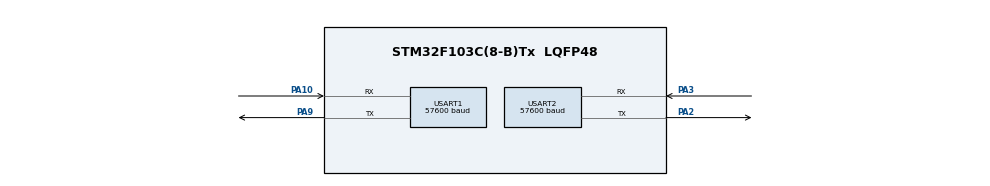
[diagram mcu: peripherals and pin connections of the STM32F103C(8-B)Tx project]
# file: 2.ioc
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Mcu.Family=STM32F1
Mcu.Name=STM32F103C(8-B)Tx
Mcu.Package=LQFP48
NVIC.PriorityGroup=NVIC_PRIORITYGROUP_4
NVIC.TIM4_IRQn=true\:0\:0\:false\:false\:true\:false
NVIC.TimeBase=TIM4_IRQn
NVIC.TimeBaseIP=TIM4
NVIC.USART1_IRQn=true\:0\:0\:false\:false\:true\:true
PA10.Mode=Asynchronous
PA10.Signal=USART1_RX
PA13.Mode=Serial_Wire
PA13.Signal=SYS_JTMS-SWDIO
PA14.Mode=Serial_Wire
PA14.Signal=SYS_JTCK-SWCLK
PA2.Mode=Asynchronous
PA2.Signal=USART2_TX
PA3.Mode=Asynchronous
PA3.Signal=USART2_RX
PA9.Mode=Asynchronous
PA9.Signal=USART1_TX
PD0-OSC_IN.Mode=HSE-External-Oscillator
PD0-OSC_IN.Signal=RCC_OSC_IN
PD1-OSC_OUT.Mode=HSE-External-Oscillator
PD1-OSC_OUT.Signal=RCC_OSC_OUT
ProjectManager.HeapSize=0x200
ProjectManager.StackSize=0x400
ProjectManager.TargetToolchain=MDK-ARM V5
RCC.APB1Freq_Value=8000000
RCC.APB2Freq_Value=8000000
USART1.BaudRate=57600
USART1.VirtualMode=VM_ASYNC
USART2.BaudRate=57600
USART2.Mode=MODE_TX_RX
USART2.VirtualMode=VM_ASYNC
VP_SYS_VS_tim4.Mode=TIM4
board=custom

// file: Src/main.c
/**
  ******************************************************************************
  * @file           : main.c
  * @brief          : Main program body
  ******************************************************************************
  ** This notice applies to any and all portions of this file
  * that are not between comment pairs USER CODE BEGIN and
  * USER CODE END. Other portions of this file, whether
  * inserted by the user or by software development tools
  * are owned by their respective copyright owners.
  *
  * COPYRIGHT(c) 2019 STMicroelectronics
  *
  * Redistribution and use in source and binary forms, with or without modification,
  * are permitted provided that the following conditions are met:
  *   1. Redistributions of source code must retain the above copyright notice,
  *      this list of conditions and the following disclaimer.
  *   2. Redistributions in binary form must reproduce the above copyright notice,
  *      this list of conditions and the following disclaimer in the documentation
  *      and/or other materials provided with the distribution.
  *   3. Neither the name of STMicroelectronics nor the names of its contributors
  *      may be used to endorse or promote products derived from this software
  *      without specific prior written permission.
  *
  * THIS SOFTWARE IS PROVIDED BY THE COPYRIGHT HOLDERS AND CONTRIBUTORS "AS IS"
  * AND ANY EXPRESS OR IMPLIED WARRANTIES, INCLUDING, BUT NOT LIMITED TO, THE
  * IMPLIED WARRANTIES OF MERCHANTABILITY AND FITNESS FOR A PARTICULAR PURPOSE ARE
  * DISCLAIMED. IN NO EVENT SHALL THE COPYRIGHT HOLDER OR CONTRIBUTORS BE LIABLE
  * FOR ANY DIRECT, INDIRECT, INCIDENTAL, SPECIAL, EXEMPLARY, OR CONSEQUENTIAL
  * DAMAGES (INCLUDING, BUT NOT LIMITED TO, PROCUREMENT OF SUBSTITUTE GOODS OR
  * SERVICES; LOSS OF USE, DATA, OR PROFITS; OR BUSINESS INTERRUPTION) HOWEVER
  * CAUSED AND ON ANY THEORY OF LIABILITY, WHETHER IN CONTRACT, STRICT LIABILITY,
  * OR TORT (INCLUDING NEGLIGENCE OR OTHERWISE) ARISING IN ANY WAY OUT OF THE USE
  * OF THIS SOFTWARE, EVEN IF ADVISED OF THE POSSIBILITY OF SUCH DAMAGE.
  *
  ******************************************************************************
  */
#include "main.h"
#include "stm32f1xx_hal.h"

/* USER CODE BEGIN Includes */
#include "string.h"

/* USER CODE END Includes */

UART_HandleTypeDef huart1;
UART_HandleTypeDef huart2;

/* USER CODE BEGIN PV */
/* Private variables ---------------------------------------------------------*/
int status=0;
unsigned char	data_u[1];
unsigned char i=0;
unsigned char recive[40];
unsigned char recive_validity=0;
unsigned char binary_back_off=0;

/* USER CODE END PV */

void SystemClock_Config(void);
static void MX_GPIO_Init(void);
static void MX_USART1_UART_Init(void);
static void MX_USART2_UART_Init(void);

/* USER CODE BEGIN PFP */
/* Private function prototypes -----------------------------------------------*/

/* USER CODE END PFP */

/* USER CODE BEGIN 0 */

//before use set this param

char char1='a';//change to \n
char char2='b';// change to \r

#define nwkskey_command         "mac set nwkskey 12345678123456781234567812345678"
#define appskey_command         "mac set appskey 12345678123456781234567812345678"
#define devaddr_command         "mac set devaddr 001B4D55"
#define pwr_command             "radio set pwr 14"
#define timeout									5

void send_command(char * str){
	char t_str1[100];
	sprintf(t_str1, str);
	HAL_UART_Transmit(&huart1,(unsigned char*)t_str1 ,strlen(t_str1),100);
	sprintf(t_str1,"\r\n");
	HAL_UART_Transmit(&huart1,(unsigned char*)t_str1 ,strlen(t_str1),100);
 }
void send_terminal(char * str){
	char t_str2[100];
	sprintf(t_str2, str);
	HAL_UART_Transmit(&huart2,(unsigned char*)t_str2 ,strlen(t_str2),100);
	sprintf(t_str2,"\r\n");
	HAL_UART_Transmit(&huart2,(unsigned char*)t_str2 ,strlen(t_str2),100);
 }
void check_ok(){
				char Buffer[40];
				sscanf((char *)recive,"%s ",Buffer);
				if(Buffer[0]=='o'){
					if(Buffer[1]=='k'){
					status++;
					}
					send_terminal("lora node: ");
					send_terminal(Buffer);
				}
			}
void check_accepted(){
				char Buffer[40];
				sscanf((char *)recive,"%s ",Buffer);
				if(Buffer[0]=='a'){
					if(Buffer[1]=='c'){
						if(Buffer[2]=='c'){

					status++;
					send_terminal("connected");
					}}}
					send_terminal("lora node: ");
					send_terminal(Buffer);
}

/* USER CODE END 0 */

int main(void)
{

  /* MCU Configuration----------------------------------------------------------*/

  /* Reset of all peripherals, Initializes the Flash interface and the Systick. */
  HAL_Init();

  /* Configure the system clock */
  SystemClock_Config();

  /* Initialize all configured peripherals */
  MX_GPIO_Init();
  MX_USART1_UART_Init();
  MX_USART2_UART_Init();
  /* USER CODE BEGIN 2 */
	send_terminal("salam");
	recive_validity=0;
  /* USER CODE END 2 */

  /* Infinite loop */
  while (1)
  {

  /* USER CODE BEGIN 3 */
	HAL_Delay(1000);

	switch (status){
			case 0:
				send_command(nwkskey_command);
				HAL_UART_Receive_IT(&huart1,data_u,1);
				status++;
				break;
			case 1:
				if(recive_validity==0){
					send_command(nwkskey_command);
					send_terminal("nwskey send again");
					HAL_Delay(1000);
				}
				else{
					check_ok();
					recive_validity=0;
					send_terminal("ack of nwkskey");
				}
				break;
			case 2:
				send_command(appskey_command);
				HAL_UART_Receive_IT(&huart1,data_u,1);
				status++;
				break;
			case 3:
				if(recive_validity==0){
					send_command(appskey_command);
					send_terminal("appskey send again");
					HAL_Delay(500);
				}
				else{
					check_ok();
					recive_validity=0;
					send_terminal("ack of appskey");

				}
				break;
				case 4:
				send_command(devaddr_command);
				HAL_UART_Receive_IT(&huart1,data_u,1);
				status++;
				break;
			case 5:
				if(recive_validity==0){
					send_command(devaddr_command);
					send_terminal("devaddr send again");
					HAL_Delay(500);
				}
				else{
					check_ok();
					recive_validity=0;
					send_terminal("ack of devaddr");

				}
				break;
			case 6:
				send_command("mac set adr on");
				HAL_UART_Receive_IT(&huart1,data_u,1);
				status++;
				break;
			case 7:
				if(recive_validity==0){
					send_command("mac set adr on");
					send_terminal("adr on send again");
					HAL_Delay(500);
				}
				else{
					check_ok();
					recive_validity=0;
					send_terminal("ack of adr on");
				}
				break;
			 case 8:
				send_command(pwr_command);
				HAL_UART_Receive_IT(&huart1,data_u,1);
				status++;
				break;
			 case 9:
				if(recive_validity==0){
					send_command(pwr_command);
					send_terminal("radio pwr send again");
					HAL_Delay(500);
				}
				else{
					check_ok();
					recive_validity=0;
				  send_terminal("ack of pwr 14");

				}
				break;
			case 10:
				send_command("mac save");
				HAL_UART_Receive_IT(&huart1,data_u,1);
				status++;
				break;
			case 11:
				if(recive_validity==0){
					send_command("mac save");
					send_terminal("mac save send again");
					HAL_Delay(500);
				}
				else{
					check_ok();
					recive_validity=0;
					send_terminal("ack of mac save");
					send_terminal("confguration is done");

				}
				break;
			//________________________________________configurate done
			case 12:
				send_command("mac join abp");
				HAL_UART_Receive_IT(&huart1,data_u,1);
				status++;
				break;
			case 13:
				if(recive_validity==0){
					send_command("mac join abp");
					send_terminal("mac join abp send again");
					HAL_Delay(500);
				}
				else{
					check_ok();
					recive_validity=0;
					send_terminal("ack of mac join abp");

				}
				break;
			case 14:
				if(recive_validity==0){
					send_terminal("wait for accepted");
					HAL_Delay(500);

					if(binary_back_off==timeout){
					send_terminal("connection is fail");
					status--;
					binary_back_off=0;
					}

					binary_back_off++;
				}
				else{
					check_accepted();
					recive_validity=0;
				}
				break;
			case 15:
					send_command("mac tx uncnf 1 salam");
					send_terminal("send|salam|-udp");
					HAL_Delay(1000);

				break;

	}

  }
  /* USER CODE END 3 */

}

void SystemClock_Config(void)
{

  RCC_OscInitTypeDef RCC_OscInitStruct;
  RCC_ClkInitTypeDef RCC_ClkInitStruct;

    /**Initializes the CPU, AHB and APB busses clocks
    */
  RCC_OscInitStruct.OscillatorType = RCC_OSCILLATORTYPE_HSI;
  RCC_OscInitStruct.HSIState = RCC_HSI_ON;
  RCC_OscInitStruct.HSICalibrationValue = 16;
  RCC_OscInitStruct.PLL.PLLState = RCC_PLL_NONE;
  if (HAL_RCC_OscConfig(&RCC_OscInitStruct) != HAL_OK)
  {
    _Error_Handler(__FILE__, __LINE__);
  }

    /**Initializes the CPU, AHB and APB busses clocks
    */
  RCC_ClkInitStruct.ClockType = RCC_CLOCKTYPE_HCLK|RCC_CLOCKTYPE_SYSCLK
                              |RCC_CLOCKTYPE_PCLK1|RCC_CLOCKTYPE_PCLK2;
  RCC_ClkInitStruct.SYSCLKSource = RCC_SYSCLKSOURCE_HSI;
  RCC_ClkInitStruct.AHBCLKDivider = RCC_SYSCLK_DIV1;
  RCC_ClkInitStruct.APB1CLKDivider = RCC_HCLK_DIV1;
  RCC_ClkInitStruct.APB2CLKDivider = RCC_HCLK_DIV1;

  if (HAL_RCC_ClockConfig(&RCC_ClkInitStruct, FLASH_LATENCY_0) != HAL_OK)
  {
    _Error_Handler(__FILE__, __LINE__);
  }

    /**Configure the Systick interrupt time
    */
  HAL_SYSTICK_Config(HAL_RCC_GetHCLKFreq()/1000);

    /**Configure the Systick
    */
  HAL_SYSTICK_CLKSourceConfig(SYSTICK_CLKSOURCE_HCLK);

  /* SysTick_IRQn interrupt configuration */
  HAL_NVIC_SetPriority(SysTick_IRQn, 0, 0);
}

/* USART1 init function */
static void MX_USART1_UART_Init(void)
{

  huart1.Instance = USART1;
  huart1.Init.BaudRate = 57600;
  huart1.Init.WordLength = UART_WORDLENGTH_8B;
  huart1.Init.StopBits = UART_STOPBITS_1;
  huart1.Init.Parity = UART_PARITY_NONE;
  huart1.Init.Mode = UART_MODE_TX_RX;
  huart1.Init.HwFlowCtl = UART_HWCONTROL_NONE;
  huart1.Init.OverSampling = UART_OVERSAMPLING_16;
  if (HAL_UART_Init(&huart1) != HAL_OK)
  {
    _Error_Handler(__FILE__, __LINE__);
  }

}

/* USART2 init function */
static void MX_USART2_UART_Init(void)
{

  huart2.Instance = USART2;
  huart2.Init.BaudRate = 57600;
  huart2.Init.WordLength = UART_WORDLENGTH_8B;
  huart2.Init.StopBits = UART_STOPBITS_1;
  huart2.Init.Parity = UART_PARITY_NONE;
  huart2.Init.Mode = UART_MODE_TX_RX;
  huart2.Init.HwFlowCtl = UART_HWCONTROL_NONE;
  huart2.Init.OverSampling = UART_OVERSAMPLING_16;
  if (HAL_UART_Init(&huart2) != HAL_OK)
  {
    _Error_Handler(__FILE__, __LINE__);
  }

}

/** Configure pins as
        * Analog
        * Input
        * Output
        * EVENT_OUT
        * EXTI
*/
static void MX_GPIO_Init(void)
{

  /* GPIO Ports Clock Enable */
  __HAL_RCC_GPIOD_CLK_ENABLE();
  __HAL_RCC_GPIOA_CLK_ENABLE();

}

/* USER CODE BEGIN 4 */

void HAL_UART_RxCpltCallback(UART_HandleTypeDef *huart){
	recive[i]=*data_u;
	if(recive[i]==char2){
		switch (i){
			case 0:
					if(recive[39]==char1){
					i=0;
					recive_validity=1;
					}
					break;
			default:
				if(recive[i-1]==char1){
					i=0;
					recive_validity=1;}
				break;
		}
	}
	else{
	i++;
	}

	if(i==40)
		i=0;

	HAL_UART_Receive_IT(&huart1,data_u,1);
}

/* USER CODE END 4 */

void HAL_TIM_PeriodElapsedCallback(TIM_HandleTypeDef *htim)
{
  if (htim->Instance == TIM4) {
    HAL_IncTick();
  }
}

void _Error_Handler(char *file, int line)
{
  while(1)
  {
  }
}

/************************ (C) COPYRIGHT STMicroelectronics *****END OF FILE****/
